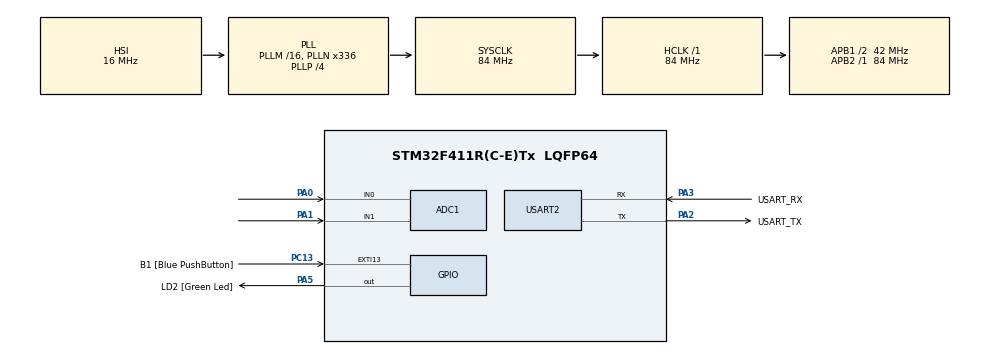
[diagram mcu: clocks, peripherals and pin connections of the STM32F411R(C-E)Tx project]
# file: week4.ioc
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ADC1.Channel-0\#ChannelRegularConversion=ADC_CHANNEL_0
ADC1.Channel-1\#ChannelRegularConversion=ADC_CHANNEL_1
ADC1.Channel-2\#ChannelRegularConversion=ADC_CHANNEL_TEMPSENSOR
ADC1.Channel-3\#ChannelRegularConversion=ADC_CHANNEL_VREFINT
ADC1.ContinuousConvMode=ENABLE
ADC1.DMAContinuousRequests=ENABLE
ADC1.NbrOfConversion=4
ADC1.NbrOfConversionFlag=1
ADC1.Rank-0\#ChannelRegularConversion=1
ADC1.Rank-1\#ChannelRegularConversion=2
ADC1.Rank-2\#ChannelRegularConversion=3
ADC1.Rank-3\#ChannelRegularConversion=4
ADC1.SamplingTime-0\#ChannelRegularConversion=ADC_SAMPLETIME_480CYCLES
ADC1.SamplingTime-1\#ChannelRegularConversion=ADC_SAMPLETIME_480CYCLES
ADC1.SamplingTime-2\#ChannelRegularConversion=ADC_SAMPLETIME_15CYCLES
ADC1.SamplingTime-3\#ChannelRegularConversion=ADC_SAMPLETIME_15CYCLES
ADC1.ScanConvMode=ENABLE
ADC1.master=1
Dma.ADC1.0.Direction=DMA_PERIPH_TO_MEMORY
Dma.ADC1.0.FIFOMode=DMA_FIFOMODE_DISABLE
Dma.ADC1.0.Instance=DMA2_Stream0
Dma.ADC1.0.MemDataAlignment=DMA_MDATAALIGN_WORD
Dma.ADC1.0.MemInc=DMA_MINC_ENABLE
Dma.ADC1.0.Mode=DMA_CIRCULAR
Dma.ADC1.0.PeriphDataAlignment=DMA_PDATAALIGN_WORD
Dma.ADC1.0.PeriphInc=DMA_PINC_DISABLE
Dma.ADC1.0.Priority=DMA_PRIORITY_LOW
Dma.Request0=ADC1
Mcu.Family=STM32F4
Mcu.Name=STM32F411R(C-E)Tx
Mcu.Package=LQFP64
NVIC.DMA2_Stream0_IRQn=true\:0\:0\:false\:false\:true\:false\:true
NVIC.EXTI15_10_IRQn=true\:0\:0\:false\:false\:true\:true\:true
NVIC.PriorityGroup=NVIC_PRIORITYGROUP_0
PA0-WKUP.Signal=ADCx_IN0
PA1.Signal=ADCx_IN1
PA13.GPIO_Label=TMS
PA13.Mode=Serial_Wire
PA13.Signal=SYS_JTMS-SWDIO
PA14.GPIO_Label=TCK
PA14.Mode=Serial_Wire
PA14.Signal=SYS_JTCK-SWCLK
PA2.GPIO_Label=USART_TX
PA2.Mode=Asynchronous
PA2.Signal=USART2_TX
PA3.GPIO_Label=USART_RX
PA3.Mode=Asynchronous
PA3.Signal=USART2_RX
PA5.GPIO_Label=LD2 [Green Led]
PA5.Signal=GPIO_Output
PB3.GPIO_Label=SWO
PB3.Signal=SYS_JTDO-SWO
PC13-ANTI_TAMP.GPIO_Label=B1 [Blue PushButton]
PC13-ANTI_TAMP.GPIO_ModeDefaultEXTI=GPIO_MODE_IT_RISING_FALLING
PC13-ANTI_TAMP.GPIO_PuPd=GPIO_PULLUP
PC13-ANTI_TAMP.Signal=GPXTI13
PC14-OSC32_IN.Mode=LSE-External-Oscillator
PC14-OSC32_IN.Signal=RCC_OSC32_IN
PC15-OSC32_OUT.Mode=LSE-External-Oscillator
PC15-OSC32_OUT.Signal=RCC_OSC32_OUT
PH0\ -\ OSC_IN.Mode=HSE-External-Clock-Source
PH0\ -\ OSC_IN.Signal=RCC_OSC_IN
PH1\ -\ OSC_OUT.Mode=HSE-External-Clock-Source
PH1\ -\ OSC_OUT.Signal=RCC_OSC_OUT
ProjectManager.HeapSize=0x200
ProjectManager.StackSize=0x400
ProjectManager.TargetToolchain=STM32CubeIDE
RCC.48MHZClocksFreq_Value=84000000
RCC.AHBFreq_Value=84000000
RCC.APB1CLKDivider=RCC_HCLK_DIV2
RCC.APB1Freq_Value=42000000
RCC.APB1TimFreq_Value=84000000
RCC.APB2Freq_Value=84000000
RCC.APB2TimFreq_Value=84000000
RCC.CortexFreq_Value=84000000
RCC.FLatency-AdvancedSettings=FLASH_LATENCY_2
RCC.HCLKFreq_Value=84000000
RCC.HSE_VALUE=8000000
RCC.HSI_VALUE=16000000
RCC.PLLN=336
RCC.PLLP=RCC_PLLP_DIV4
RCC.SYSCLKFreq_VALUE=84000000
RCC.SYSCLKSource=RCC_SYSCLKSOURCE_PLLCLK
RCC.VCOOutputFreq_Value=336000000
SH.ADCx_IN0.0=ADC1_IN0,IN0
SH.ADCx_IN1.0=ADC1_IN1,IN1
USART2.VirtualMode=VM_ASYNC
VP_ADC1_TempSens_Input.Mode=IN-TempSens
VP_ADC1_Vref_Input.Mode=IN-Vrefint
board=NUCLEO-F411RE

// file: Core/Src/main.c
/* USER CODE BEGIN Header */
/**
  ******************************************************************************
  * @file           : main.c
  * @brief          : Main program body
  ******************************************************************************
  * @attention
  *
  * <h2><center>&copy; Copyright (c) 2021 STMicroelectronics.
  * All rights reserved.</center></h2>
  *
  * This software component is licensed by ST under BSD 3-Clause license,
  * the "License"; You may not use this file except in compliance with the
  * License. You may obtain a copy of the License at:
  *                        opensource.org/licenses/BSD-3-Clause
  *
  ******************************************************************************
  */
/* USER CODE END Header */
#include "main.h"

ADC_HandleTypeDef hadc1;
DMA_HandleTypeDef hdma_adc1;

UART_HandleTypeDef huart2;

/* USER CODE BEGIN PV */
uint32_t now =0; // check
uint32_t ADCData[4]={0};
uint32_t TimeStamp = 0;//set time
uint32_t ConditionTime = 0;//condition random
uint32_t ReflexTime =0;
uint32_t TimeStamp2 = 0;//debounce switch
int Mode = 0;
/* USER CODE END PV */

void SystemClock_Config(void);
static void MX_GPIO_Init(void);
static void MX_DMA_Init(void);
static void MX_USART2_UART_Init(void);
static void MX_ADC1_Init(void);

int main(void)
{

  /* MCU Configuration--------------------------------------------------------*/

  /* Reset of all peripherals, Initializes the Flash interface and the Systick. */
  HAL_Init();

  /* Configure the system clock */
  SystemClock_Config();

  /* Initialize all configured peripherals */
  MX_GPIO_Init();
  MX_DMA_Init();
  MX_USART2_UART_Init();
  MX_ADC1_Init();
  /* USER CODE BEGIN 2 */
HAL_ADC_Start_DMA(&hadc1, ADCData, 4);

  /* USER CODE END 2 */

  /* Infinite loop */
  /* USER CODE BEGIN WHILE */
  while (1)
  {
	  now=(HAL_GetTick()-TimeStamp);
		  if(HAL_GetTick()-TimeStamp<=ConditionTime && Mode == 1){
			  HAL_GPIO_WritePin(GPIOA, GPIO_PIN_5, GPIO_PIN_RESET);
		  }else if(HAL_GetTick()-TimeStamp>=ConditionTime || Mode == 0 ){
			  HAL_GPIO_WritePin(GPIOA, GPIO_PIN_5, GPIO_PIN_SET);
	  }
    /* USER CODE END WHILE */

  }
}

void SystemClock_Config(void)
{
  RCC_OscInitTypeDef RCC_OscInitStruct = {0};
  RCC_ClkInitTypeDef RCC_ClkInitStruct = {0};

  /** Configure the main internal regulator output voltage
  */
  __HAL_RCC_PWR_CLK_ENABLE();
  __HAL_PWR_VOLTAGESCALING_CONFIG(PWR_REGULATOR_VOLTAGE_SCALE1);
  /** Initializes the RCC Oscillators according to the specified parameters
  * in the RCC_OscInitTypeDef structure.
  */
  RCC_OscInitStruct.OscillatorType = RCC_OSCILLATORTYPE_HSI;
  RCC_OscInitStruct.HSIState = RCC_HSI_ON;
  RCC_OscInitStruct.HSICalibrationValue = RCC_HSICALIBRATION_DEFAULT;
  RCC_OscInitStruct.PLL.PLLState = RCC_PLL_ON;
  RCC_OscInitStruct.PLL.PLLSource = RCC_PLLSOURCE_HSI;
  RCC_OscInitStruct.PLL.PLLM = 16;
  RCC_OscInitStruct.PLL.PLLN = 336;
  RCC_OscInitStruct.PLL.PLLP = RCC_PLLP_DIV4;
  RCC_OscInitStruct.PLL.PLLQ = 4;
  if (HAL_RCC_OscConfig(&RCC_OscInitStruct) != HAL_OK)
  {
    Error_Handler();
  }
  /** Initializes the CPU, AHB and APB buses clocks
  */
  RCC_ClkInitStruct.ClockType = RCC_CLOCKTYPE_HCLK|RCC_CLOCKTYPE_SYSCLK
                              |RCC_CLOCKTYPE_PCLK1|RCC_CLOCKTYPE_PCLK2;
  RCC_ClkInitStruct.SYSCLKSource = RCC_SYSCLKSOURCE_PLLCLK;
  RCC_ClkInitStruct.AHBCLKDivider = RCC_SYSCLK_DIV1;
  RCC_ClkInitStruct.APB1CLKDivider = RCC_HCLK_DIV2;
  RCC_ClkInitStruct.APB2CLKDivider = RCC_HCLK_DIV1;

  if (HAL_RCC_ClockConfig(&RCC_ClkInitStruct, FLASH_LATENCY_2) != HAL_OK)
  {
    Error_Handler();
  }
}

static void MX_ADC1_Init(void)
{

  ADC_ChannelConfTypeDef sConfig = {0};

  /** Configure the global features of the ADC (Clock, Resolution, Data Alignment and number of conversion)
  */
  hadc1.Instance = ADC1;
  hadc1.Init.ClockPrescaler = ADC_CLOCK_SYNC_PCLK_DIV4;
  hadc1.Init.Resolution = ADC_RESOLUTION_12B;
  hadc1.Init.ScanConvMode = ENABLE;
  hadc1.Init.ContinuousConvMode = ENABLE;
  hadc1.Init.DiscontinuousConvMode = DISABLE;
  hadc1.Init.ExternalTrigConvEdge = ADC_EXTERNALTRIGCONVEDGE_NONE;
  hadc1.Init.ExternalTrigConv = ADC_SOFTWARE_START;
  hadc1.Init.DataAlign = ADC_DATAALIGN_RIGHT;
  hadc1.Init.NbrOfConversion = 4;
  hadc1.Init.DMAContinuousRequests = ENABLE;
  hadc1.Init.EOCSelection = ADC_EOC_SINGLE_CONV;
  if (HAL_ADC_Init(&hadc1) != HAL_OK)
  {
    Error_Handler();
  }
  /** Configure for the selected ADC regular channel its corresponding rank in the sequencer and its sample time.
  */
  sConfig.Channel = ADC_CHANNEL_0;
  sConfig.Rank = 1;
  sConfig.SamplingTime = ADC_SAMPLETIME_480CYCLES;
  if (HAL_ADC_ConfigChannel(&hadc1, &sConfig) != HAL_OK)
  {
    Error_Handler();
  }
  /** Configure for the selected ADC regular channel its corresponding rank in the sequencer and its sample time.
  */
  sConfig.Channel = ADC_CHANNEL_1;
  sConfig.Rank = 2;
  if (HAL_ADC_ConfigChannel(&hadc1, &sConfig) != HAL_OK)
  {
    Error_Handler();
  }
  /** Configure for the selected ADC regular channel its corresponding rank in the sequencer and its sample time.
  */
  sConfig.Channel = ADC_CHANNEL_TEMPSENSOR;
  sConfig.Rank = 3;
  sConfig.SamplingTime = ADC_SAMPLETIME_15CYCLES;
  if (HAL_ADC_ConfigChannel(&hadc1, &sConfig) != HAL_OK)
  {
    Error_Handler();
  }
  /** Configure for the selected ADC regular channel its corresponding rank in the sequencer and its sample time.
  */
  sConfig.Channel = ADC_CHANNEL_VREFINT;
  sConfig.Rank = 4;
  if (HAL_ADC_ConfigChannel(&hadc1, &sConfig) != HAL_OK)
  {
    Error_Handler();
  }

}

static void MX_USART2_UART_Init(void)
{

  huart2.Instance = USART2;
  huart2.Init.BaudRate = 115200;
  huart2.Init.WordLength = UART_WORDLENGTH_8B;
  huart2.Init.StopBits = UART_STOPBITS_1;
  huart2.Init.Parity = UART_PARITY_NONE;
  huart2.Init.Mode = UART_MODE_TX_RX;
  huart2.Init.HwFlowCtl = UART_HWCONTROL_NONE;
  huart2.Init.OverSampling = UART_OVERSAMPLING_16;
  if (HAL_UART_Init(&huart2) != HAL_OK)
  {
    Error_Handler();
  }

}

static void MX_DMA_Init(void)
{

  /* DMA controller clock enable */
  __HAL_RCC_DMA2_CLK_ENABLE();

  /* DMA interrupt init */
  /* DMA2_Stream0_IRQn interrupt configuration */
  HAL_NVIC_SetPriority(DMA2_Stream0_IRQn, 0, 0);
  HAL_NVIC_EnableIRQ(DMA2_Stream0_IRQn);

}

static void MX_GPIO_Init(void)
{
  GPIO_InitTypeDef GPIO_InitStruct = {0};

  /* GPIO Ports Clock Enable */
  __HAL_RCC_GPIOC_CLK_ENABLE();
  __HAL_RCC_GPIOH_CLK_ENABLE();
  __HAL_RCC_GPIOA_CLK_ENABLE();
  __HAL_RCC_GPIOB_CLK_ENABLE();

  /*Configure GPIO pin Output Level */
  HAL_GPIO_WritePin(LD2_GPIO_Port, LD2_Pin, GPIO_PIN_RESET);

  /*Configure GPIO pin : B1_Pin */
  GPIO_InitStruct.Pin = B1_Pin;
  GPIO_InitStruct.Mode = GPIO_MODE_IT_RISING_FALLING;
  GPIO_InitStruct.Pull = GPIO_PULLUP;
  HAL_GPIO_Init(B1_GPIO_Port, &GPIO_InitStruct);

  /*Configure GPIO pin : LD2_Pin */
  GPIO_InitStruct.Pin = LD2_Pin;
  GPIO_InitStruct.Mode = GPIO_MODE_OUTPUT_PP;
  GPIO_InitStruct.Pull = GPIO_NOPULL;
  GPIO_InitStruct.Speed = GPIO_SPEED_FREQ_LOW;
  HAL_GPIO_Init(LD2_GPIO_Port, &GPIO_InitStruct);

  /* EXTI interrupt init*/
  HAL_NVIC_SetPriority(EXTI15_10_IRQn, 0, 0);
  HAL_NVIC_EnableIRQ(EXTI15_10_IRQn);

}

/* USER CODE BEGIN 4 */
void HAL_GPIO_EXTI_Callback(uint16_t GPIO_Pin)
{
	if(HAL_GetTick()-TimeStamp2>=50){
		TimeStamp2 = HAL_GetTick();
	if(GPIO_Pin == GPIO_PIN_13)
	{
		if(Mode==0){
			ReflexTime =0;
			Mode = 1;
			TimeStamp = HAL_GetTick();
			ConditionTime = 1000+(((22695477*ADCData[0])+ADCData[1])%10000);
		}else if(Mode==1){
			Mode = 0;
			if(HAL_GetTick()-TimeStamp<ConditionTime){
				ReflexTime = 33333333;//error monitor
			}else{
			ReflexTime = HAL_GetTick()-TimeStamp - ConditionTime;
			}
		}
	}
	}
}
/* USER CODE END 4 */

void Error_Handler(void)
{
  __disable_irq();
  while (1)
  {
  }
}

/************************ (C) COPYRIGHT STMicroelectronics *****END OF FILE****/
